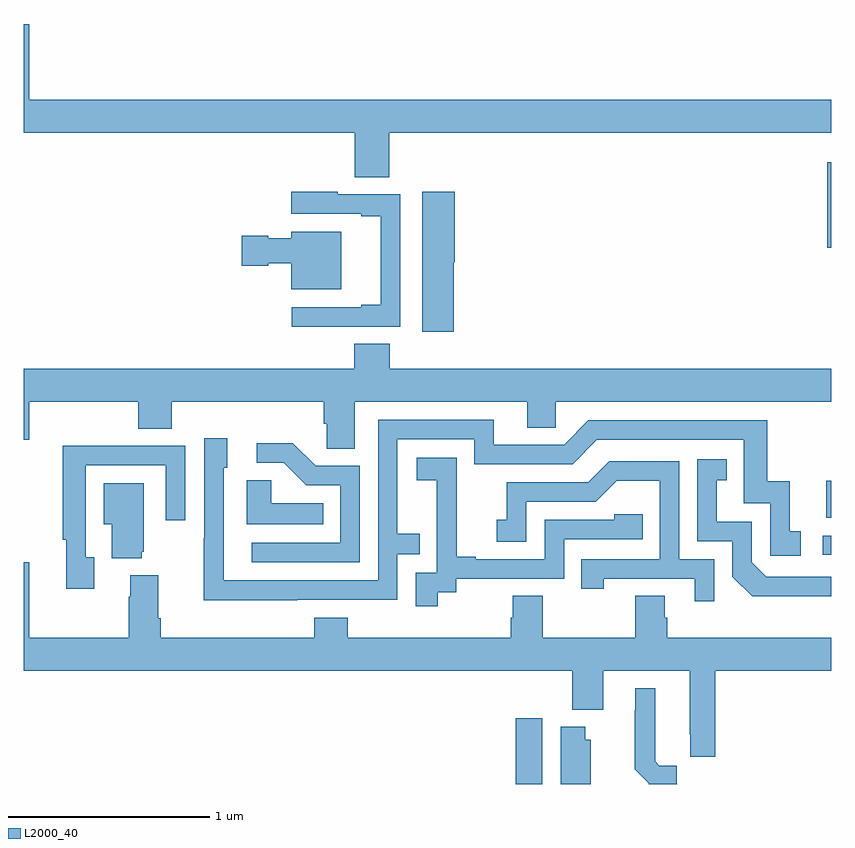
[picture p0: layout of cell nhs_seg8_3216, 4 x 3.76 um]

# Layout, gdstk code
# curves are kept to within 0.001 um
import gdstk
lib = gdstk.Library(unit=1e-6, precision=1e-09)
def R(c, l, rs):  # rectangles x0, y0, x1, y1
    for r in rs: c.add(gdstk.rectangle(r[:2], r[2:], *l))
def P(c, l, *ps):  # polygons
    for p in ps: c.add(gdstk.Polygon(p, *l))
L2000_40 = (2000, 40)

nhs_seg8_3216 = lib.new_cell('nhs_seg8_3216')
R(nhs_seg8_3216, L2000_40, [(311.438,1155.9,311.569,1156.225), (312.957,1157.034,313,1157.13), (312.974,1157.219,313,1157.401), (312.98,1158.554,313,1158.979)])
P(nhs_seg8_3216, L2000_40, [(310.811,1159.124),(313,1159.124),(313,1159.288),(309.028,1159.288),(309.028,1159.663),(309,1159.663),(309,1159.124),(310.64,1159.124),(310.64,1158.904),(310.811,1158.904)],
  [(311.129,1158.483),(311.134,1158.483),(311.134,1158.832),(310.973,1158.832),(310.973,1158.138),(311.129,1158.138)],
  [(310.553,1158.165),(310.866,1158.165),(310.866,1158.819),(310.556,1158.819),(310.556,1158.832),(310.326,1158.832),(310.326,1158.723),(310.673,1158.723),(310.673,1158.711),(310.769,1158.711),(310.769,1158.274),(310.673,1158.274),(310.673,1158.261),(310.329,1158.261),(310.329,1158.164),(310.553,1158.164)],
  [(310.573,1158.634),(310.325,1158.634),(310.325,1158.601),(310.211,1158.601),(310.211,1158.614),(310.08,1158.614),(310.08,1158.467),(310.211,1158.467),(310.211,1158.479),(310.325,1158.479),(310.325,1158.35),(310.573,1158.35)],
  [(310.639,1157.792),(311.495,1157.792),(311.495,1157.665),(311.634,1157.665),(311.634,1157.792),(313,1157.792),(313,1157.956),(310.814,1157.956),(310.814,1158.08),(310.637,1158.08),(310.637,1157.956),(309,1157.956),(309,1157.604),(309.028,1157.604),(309.028,1157.792),(309.569,1157.792),(309.569,1157.659),(309.734,1157.659),(309.734,1157.792),(310.487,1157.792),(310.487,1157.683),(310.5,1157.683),(310.5,1157.56),(310.639,1157.56)],
  [(310.355,1156.812),(310.851,1156.812),(310.851,1157.037),(310.961,1157.037),(310.961,1157.138),(310.851,1157.138),(310.851,1157.607),(311.232,1157.607),(311.232,1157.484),(311.718,1157.484),(311.838,1157.604),(312.567,1157.604),(312.567,1157.289),(312.696,1157.289),(312.696,1157.031),(312.847,1157.031),(312.847,1157.151),(312.794,1157.151),(312.794,1157.398),(312.683,1157.398),(312.683,1157.7),(311.796,1157.7),(311.676,1157.58),(311.329,1157.58),(311.329,1157.703),(310.755,1157.703),(310.755,1156.908),(309.99,1156.908),(309.99,1157.466),(310.009,1157.466),(310.009,1157.611),(309.894,1157.611),(309.894,1157.117),(309.892,1157.117),(309.892,1156.811)],
  [(310.665,1157.475),(310.446,1157.475),(310.333,1157.588),(310.155,1157.588),(310.155,1157.49),(310.289,1157.49),(310.4,1157.379),(310.569,1157.379),(310.569,1157.094),(310.131,1157.094),(310.131,1156.998),(310.665,1156.998)],
  [(309.349,1157.022),(309.309,1157.022),(309.309,1157.478),(309.705,1157.478),(309.705,1157.205),(309.801,1157.205),(309.801,1157.574),(309.485,1157.574),(309.485,1157.576),(309.193,1157.576),(309.193,1157.11),(309.212,1157.11),(309.212,1156.866),(309.349,1156.866)],
  [(311.05,1156.849),(311.142,1156.849),(311.142,1156.917),(311.676,1156.917),(311.676,1157.112),(312.065,1157.112),(312.065,1157.235),(311.925,1157.235),(311.925,1157.208),(311.58,1157.208),(311.58,1157.013),(311.239,1157.013),(311.239,1157.026),(311.144,1157.026),(311.144,1157.309),(311.145,1157.309),(311.145,1157.515),(310.947,1157.515),(310.947,1157.405),(311.045,1157.405),(311.045,1157.177),(311.046,1157.177),(311.046,1156.947),(310.941,1156.947),(310.941,1156.779),(311.05,1156.779)],
  [(313,1156.926),(312.678,1156.926),(312.606,1156.998),(312.606,1157.199),(312.433,1157.199),(312.433,1157.403),(312.482,1157.403),(312.482,1157.509),(312.336,1157.509),(312.336,1157.103),(312.51,1157.103),(312.51,1156.926),(312.608,1156.829),(313,1156.829)],
  [(312.42,1157.013),(312.246,1157.013),(312.246,1157.499),(311.9,1157.499),(311.795,1157.394),(311.392,1157.394),(311.392,1157.209),(311.343,1157.209),(311.343,1157.1),(311.49,1157.1),(311.49,1157.298),(311.832,1157.298),(311.936,1157.402),(312.15,1157.402),(312.15,1157.013),(311.761,1157.013),(311.761,1156.866),(311.872,1156.866),(311.872,1156.917),(312.323,1156.917),(312.323,1156.806),(312.42,1156.806)],
  [(310.484,1157.29),(310.227,1157.29),(310.227,1157.405),(310.106,1157.405),(310.106,1157.186),(310.484,1157.186)],
  [(309.584,1157.049),(309.595,1157.049),(309.595,1157.389),(309.398,1157.389),(309.398,1157.186),(309.437,1157.186),(309.437,1157.018),(309.584,1157.018)],
  [(312.424,1156.46),(313,1156.46),(313,1156.624),(312.188,1156.624),(312.188,1156.722),(312.175,1156.722),(312.175,1156.832),(312.028,1156.832),(312.028,1156.624),(311.571,1156.624),(311.571,1156.832),(311.423,1156.832),(311.423,1156.722),(311.411,1156.722),(311.411,1156.624),(310.604,1156.624),(310.604,1156.723),(310.439,1156.723),(310.439,1156.624),(309.68,1156.624),(309.68,1156.72),(309.667,1156.72),(309.667,1156.933),(309.527,1156.933),(309.527,1156.826),(309.52,1156.826),(309.52,1156.624),(309.028,1156.624),(309.028,1156.999),(309,1156.999),(309,1156.46),(311.717,1156.46),(311.717,1156.268),(311.869,1156.268),(311.869,1156.46),(312.299,1156.46),(312.299,1156.147),(312.302,1156.147),(312.302,1156.035),(312.424,1156.035)],
  [(312.235,1155.902),(312.235,1155.99),(312.148,1155.99),(312.127,1156.012),(312.127,1156.375),(312.029,1156.375),(312.029,1156.265),(312.025,1156.265),(312.025,1155.974),(312.095,1155.904),(312.095,1155.9),(312.237,1155.9)],
  [(311.809,1156.119),(311.782,1156.119),(311.782,1156.183),(311.66,1156.183),(311.66,1155.9),(311.809,1155.9)])

lib.write_gds('nhs_seg8_3216.gds')
